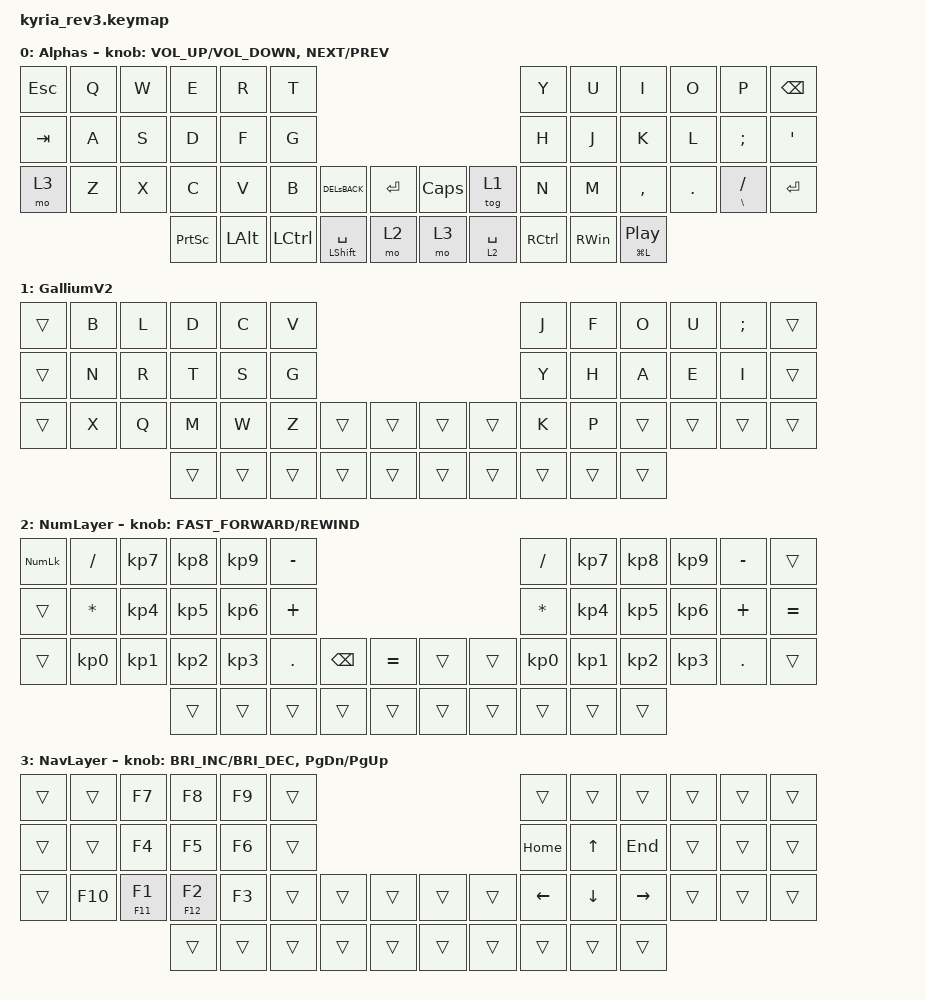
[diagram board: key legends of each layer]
/*
 * Copyright (c) 2023 The ZMK Contributors
 *
 * SPDX-License-Identifier: MIT
 */

#include <behaviors.dtsi>
#include <dt-bindings/zmk/bt.h>
#include <dt-bindings/zmk/keys.h>

/ {
    combos {
        compatible = "zmk,combos";

        Lock {
            bindings = <&kp LG(L)>;
            key-positions = <40 49>;
            require-prior-idle-ms = <250>;
        };

        BT0 {
            bindings = <&bt BT_SEL 0>;
            key-positions = <30 43>;
            require-prior-idle-ms = <250>;
        };

        BT1 {
            bindings = <&bt BT_SEL 1>;
            key-positions = <31 44>;
            require-prior-idle-ms = <250>;
        };

        BT2 {
            bindings = <&bt BT_CLR>;
            key-positions = <32 45>;
            require-prior-idle-ms = <250>;
        };

        BTClear {
            bindings = <&bt BT_CLR_ALL>;
            key-positions = <33 46>;
            require-prior-idle-ms = <250>;
        };

        ParenthesisCOMBO {
            bindings = <&ParenthesisC>;
            key-positions = <7 9>;
            require-prior-idle-ms = <250>;
        };

        BracketCOMBO {
            bindings = <&BracketC>;
            key-positions = <21 19>;
            require-prior-idle-ms = <250>;
        };

        CurlyCOMBO {
            bindings = <&CurlyC>;
            key-positions = <37 35>;
            require-prior-idle-ms = <250>;
        };

        AngleCOMBO {
            bindings = <&AngleC>;
            key-positions = <36 37>;
            require-prior-idle-ms = <250>;
        };

        LParen {
            bindings = <&kp LEFT_PARENTHESIS>;
            key-positions = <7 8>;
            require-prior-idle-ms = <250>;
        };

        RParen {
            bindings = <&kp RIGHT_PARENTHESIS>;
            key-positions = <8 9>;
            require-prior-idle-ms = <250>;
        };

        LBracket {
            bindings = <&kp LEFT_BRACKET>;
            key-positions = <20 19>;
            require-prior-idle-ms = <250>;
        };

        RBracket {
            bindings = <&kp RIGHT_BRACKET>;
            key-positions = <20 21>;
            require-prior-idle-ms = <250>;
        };

        LCurly {
            bindings = <&kp LEFT_BRACE>;
            key-positions = <36 35>;
            require-prior-idle-ms = <250>;
        };

        RCurly {
            bindings = <&kp RIGHT_BRACE>;
            key-positions = <36 37>;
            require-prior-idle-ms = <250>;
        };

        Grave {
            bindings = <&kp GRAVE>;
            key-positions = <0 12>;
            require-prior-idle-ms = <250>;
        };

        Exc {
            bindings = <&kp EXCLAMATION>;
            key-positions = <1 13>;
            require-prior-idle-ms = <250>;
        };

        At {
            bindings = <&kp AT_SIGN>;
            key-positions = <2 14>;
            require-prior-idle-ms = <250>;
        };

        Hash {
            bindings = <&kp HASH>;
            key-positions = <15 3>;
            require-prior-idle-ms = <250>;
        };

        Dollar {
            bindings = <&kp DOLLAR>;
            key-positions = <4 16>;
            require-prior-idle-ms = <250>;
        };

        Percent {
            bindings = <&kp PERCENT>;
            key-positions = <5 17>;
            require-prior-idle-ms = <250>;
        };

        Caret {
            bindings = <&kp CARET>;
            key-positions = <6 18>;
            require-prior-idle-ms = <250>;
        };

        Ampersand {
            bindings = <&kp AMPERSAND>;
            key-positions = <7 19>;
            require-prior-idle-ms = <250>;
        };

        Asterisk {
            bindings = <&kp ASTERISK>;
            key-positions = <20 8>;
            require-prior-idle-ms = <250>;
        };

        HomeShiftEndCombo {
            bindings = <&HomeShiftEnd>;
            key-positions = <18 20>;
            require-prior-idle-ms = <250>;
        };

        PasteClip {
            bindings = <&kp LG(V)>;
            key-positions = <28 16>;
            require-prior-idle-ms = <250>;
        };

        Undo {
            bindings = <&kp LC(Z)>;
            key-positions = <25 26>;
            require-prior-idle-ms = <250>;
        };

        Cut {
            bindings = <&kp LC(X)>;
            key-positions = <26 27>;
            require-prior-idle-ms = <250>;
        };

        Copy {
            bindings = <&kp LC(C)>;
            key-positions = <27 28>;
            require-prior-idle-ms = <250>;
        };

        Paste {
            bindings = <&kp LC(V)>;
            key-positions = <28 29>;
            require-prior-idle-ms = <250>;
        };

        AsteriskSurroundCOMBO {
            bindings = <&AsteriskSurround>;
            key-positions = <19 18>;
            require-prior-idle-ms = <250>;
        };

        LBootLoader {
            bindings = <&bootloader>;
            key-positions = <41 42 43>;
            require-prior-idle-ms = <250>;
        };

        RBootLoader {
            bindings = <&bootloader>;
            key-positions = <47 46 48>;
            require-prior-idle-ms = <250>;
        };

        Underscore {
            bindings = <&kp UNDER>;
            key-positions = <9 21>;
            require-prior-idle-ms = <250>;
        };

        Minus {
            bindings = <&kp MINUS>;
            key-positions = <10 22>;
            require-prior-idle-ms = <250>;
        };

        cBackspace {
            bindings = <&kp RC(BACKSPACE)>;
            key-positions = <11 23>;
            require-prior-idle-ms = <250>;
        };
    };

    macros {
        ParenthesisC: Parentheses {
            compatible = "zmk,behavior-macro";
            #binding-cells = <0>;
            bindings = <&kp LEFT_PARENTHESIS &kp RIGHT_PARENTHESIS &kp LEFT>;
            label = "PARENTHESES";
        };

        BracketC: BracketC {
            compatible = "zmk,behavior-macro";
            #binding-cells = <0>;
            bindings = <&kp LEFT_BRACKET &kp RIGHT_BRACKET &kp LEFT>;
            label = "BRACKETC";
        };

        CurlyC: CurlyC {
            compatible = "zmk,behavior-macro";
            #binding-cells = <0>;
            bindings = <&kp LS(LEFT_BRACKET) &kp LS(RIGHT_BRACKET) &kp LEFT>;
            label = "CURLYC";
        };

        AngleC: AngleC {
            compatible = "zmk,behavior-macro";
            #binding-cells = <0>;
            bindings = <&kp LS(COMMA) &kp LS(PERIOD) &kp LEFT>;
            label = "ANGLEC";
        };

        HomeShiftEnd: HomeShiftEnd {
            compatible = "zmk,behavior-macro";
            #binding-cells = <0>;
            bindings = <&kp HOME &kp LS(END)>;
            label = "HOMESHIFTEND";
        };

        AsteriskSurround: AsteriskSurround {
            compatible = "zmk,behavior-macro";
            #binding-cells = <0>;
            bindings = <&kp HOME &kp ASTERISK &kp END &kp ASTRK>;
            label = "ASTERISKSURROUND";
        };
    };

    behaviors {
        LockScreen: LockScreen {
            compatible = "zmk,behavior-hold-tap";
            label = "LOCKSCREEN";
            bindings = <&kp>, <&kp>;

            #binding-cells = <2>;
            tapping-term-ms = <800>;
            flavor = "tap-preferred";
        };

        DELsBACK: DELsBACK {
            compatible = "zmk,behavior-mod-morph";
            label = "DELSBACK";
            bindings = <&kp DELETE>, <&kp BACKSPACE>;

            #binding-cells = <0>;
            mods = <(MOD_LSFT)>;
        };
    };

    sensors {
        left_config { triggers-per-rotation = <36>; };

        right_config { triggers-per-rotation = <6>; };
    };

    keymap {
        compatible = "zmk,keymap";

        Alphas {
            bindings = <
&kp ESC  &kp Q  &kp W  &kp E            &kp R         &kp T                                                                         &kp Y              &kp U     &kp I                           &kp O    &kp P                &kp BACKSPACE
&kp TAB  &kp A  &kp S  &kp D            &kp F         &kp G                                                                         &kp H              &kp J     &kp K                           &kp L    &kp SEMICOLON        &kp SQT
&mo 3    &kp Z  &kp X  &kp C            &kp V         &kp B             &DELsBACK             &kp ENTER  &kp CAPSLOCK  &tog 1       &kp N              &kp M     &kp COMMA                       &kp DOT  &mt BACKSLASH SLASH  &kp ENTER
                       &kp PRINTSCREEN  &kp LEFT_ALT  &kp LEFT_CONTROL  &mt LEFT_SHIFT SPACE  &mo 2      &mo 3         &lt 2 SPACE  &kp RIGHT_CONTROL  &kp RWIN  &LockScreen LG(L) C_PLAY_PAUSE
            >;

            sensor-bindings =
                <&inc_dec_kp C_VOLUME_UP C_VOLUME_DOWN>,
                <&inc_dec_kp C_NEXT C_PREV>;
        };

        GalliumV2 {
            bindings = <
&trans  &kp B  &kp L  &kp D   &kp C   &kp V                                   &kp J   &kp F   &kp O   &kp U   &kp SEMI  &trans
&trans  &kp N  &kp R  &kp T   &kp S   &kp G                                   &kp Y   &kp H   &kp A   &kp E   &kp I     &trans
&trans  &kp X  &kp Q  &kp M   &kp W   &kp Z   &trans  &trans  &trans  &trans  &kp K   &kp P   &trans  &trans  &trans    &trans
                      &trans  &trans  &trans  &trans  &trans  &trans  &trans  &trans  &trans  &trans
            >;
        };

        NumLayer {
            bindings = <
&kp KP_NUMLOCK  &kp SLASH        &kp KP_NUMBER_7  &kp KP_NUMBER_8  &kp KP_NUMBER_9  &kp MINUS                                             &kp SLASH        &kp KP_NUMBER_7  &kp KP_NUMBER_8  &kp KP_NUMBER_9  &kp MINUS   &trans
&trans          &kp ASTERISK     &kp KP_NUMBER_4  &kp KP_NUMBER_5  &kp KP_NUMBER_6  &kp PLUS                                              &kp ASTERISK     &kp KP_NUMBER_4  &kp KP_NUMBER_5  &kp KP_NUMBER_6  &kp PLUS    &kp EQUAL
&trans          &kp KP_NUMBER_0  &kp KP_NUMBER_1  &kp KP_NUMBER_2  &kp KP_NUMBER_3  &kp PERIOD  &kp BACKSPACE  &kp EQUAL  &trans  &trans  &kp KP_NUMBER_0  &kp KP_NUMBER_1  &kp KP_NUMBER_2  &kp KP_NUMBER_3  &kp PERIOD  &trans
                                                  &trans           &trans           &trans      &trans         &trans     &trans  &trans  &trans           &trans           &trans
            >;

            sensor-bindings = <&inc_dec_kp C_FAST_FORWARD C_REWIND>;
        };

        NavLayer {
            bindings = <
&trans  &trans   &kp F7      &kp F8      &kp F9  &trans                                  &trans    &trans        &trans     &trans  &trans  &trans
&trans  &trans   &kp F4      &kp F5      &kp F6  &trans                                  &kp HOME  &kp UP_ARROW  &kp END    &trans  &trans  &trans
&trans  &kp F10  &mt F11 F1  &mt F12 F2  &kp F3  &trans  &trans  &trans  &trans  &trans  &kp LEFT  &kp DOWN      &kp RIGHT  &trans  &trans  &trans
                             &trans      &trans  &trans  &trans  &trans  &trans  &trans  &trans    &trans        &trans
            >;

            sensor-bindings =
                <&inc_dec_kp C_BRIGHTNESS_INC C_BRIGHTNESS_DEC>,
                <&inc_dec_kp PAGE_DOWN PAGE_UP>;
        };
    };
};
